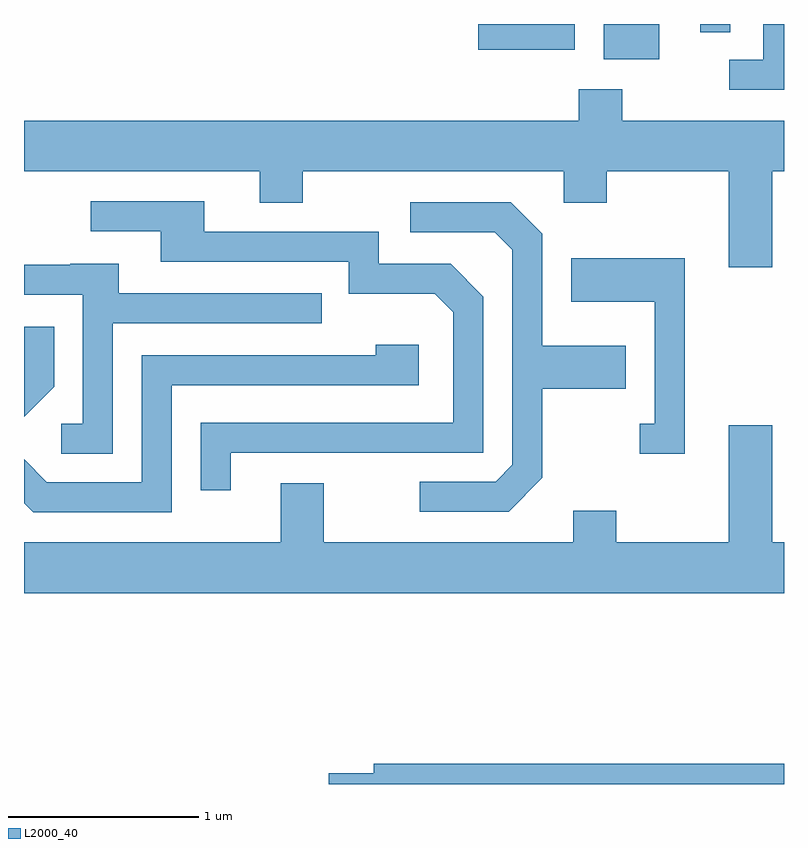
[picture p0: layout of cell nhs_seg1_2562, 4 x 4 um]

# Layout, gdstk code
import gdstk
lib = gdstk.Library(unit=1e-6, precision=1e-09)
def R(c, l, rs):  # rectangles x0, y0, x1, y1
    for r in rs: c.add(gdstk.rectangle(r[:2], r[2:], *l))
def P(c, l, *ps):  # polygons
    for p in ps: c.add(gdstk.Polygon(p, *l))
L2000_40 = (2000, 40)

nhs_seg1_2562 = lib.new_cell('nhs_seg1_2562')
R(nhs_seg1_2562, L2000_40, [(266.661,873.526,266.954,873.712), (266.003,873.576,266.509,873.712), (267.171,873.668,267.329,873.712)])
P(nhs_seg1_2562, L2000_40, [(267.611,873.712),(267.501,873.712),(267.501,873.524),(267.323,873.524),(267.323,873.366),(267.611,873.366)],
  [(267.549,872.936),(267.611,872.936),(267.611,873.204),(266.759,873.204),(266.759,873.369),(266.531,873.369),(266.531,873.204),(263.611,873.204),(263.611,872.936),(264.851,872.936),(264.851,872.771),(265.079,872.771),(265.079,872.936),(266.451,872.936),(266.451,872.771),(266.679,872.771),(266.679,872.936),(267.321,872.936),(267.321,872.431),(267.549,872.431)],
  [(264.699,871.456),(266.029,871.456),(266.029,872.277),(265.857,872.449),(265.479,872.449),(265.479,872.619),(264.559,872.619),(264.559,872.779),(263.963,872.779),(263.963,872.621),(264.331,872.621),(264.331,872.461),(265.321,872.461),(265.321,872.291),(265.774,872.291),(265.871,872.194),(265.871,871.614),(264.541,871.614),(264.541,871.258),(264.699,871.258)],
  [(266.339,871.324),(266.339,871.791),(266.779,871.791),(266.779,872.019),(266.339,872.019),(266.339,872.607),(266.172,872.774),(265.643,872.774),(265.643,872.616),(266.089,872.616),(266.181,872.524),(266.181,871.392),(266.094,871.304),(265.693,871.304),(265.693,871.146),(266.162,871.146)],
  [(267.089,872.479),(266.491,872.479),(266.491,872.251),(266.931,872.251),(266.931,871.609),(266.853,871.609),(266.853,871.451),(267.089,871.451)],
  [(264.079,872.136),(265.178,872.136),(265.178,872.294),(264.109,872.294),(264.109,872.449),(263.855,872.449),(263.855,872.444),(263.611,872.444),(263.611,872.286),(263.921,872.286),(263.921,871.609),(263.808,871.609),(263.808,871.451),(264.079,871.451)],
  [(263.769,871.804),(263.769,872.118),(263.611,872.118),(263.611,871.645)],
  [(264.389,871.811),(265.689,871.811),(265.689,872.024),(265.461,872.024),(265.461,871.969),(264.231,871.969),(264.231,871.299),(263.732,871.299),(263.611,871.42),(263.611,871.189),(263.659,871.141),(264.389,871.141)],
  [(267.611,870.984),(267.549,870.984),(267.549,871.599),(267.321,871.599),(267.321,870.984),(266.729,870.984),(266.729,871.149),(266.501,871.149),(266.501,870.984),(265.189,870.984),(265.189,871.294),(264.961,871.294),(264.961,870.984),(263.611,870.984),(263.611,870.716),(267.611,870.716)],
  [(267.611,869.819),(265.451,869.819),(265.451,869.769),(265.216,869.769),(265.216,869.712),(267.611,869.712)])

lib.write_gds('nhs_seg1_2562.gds')
